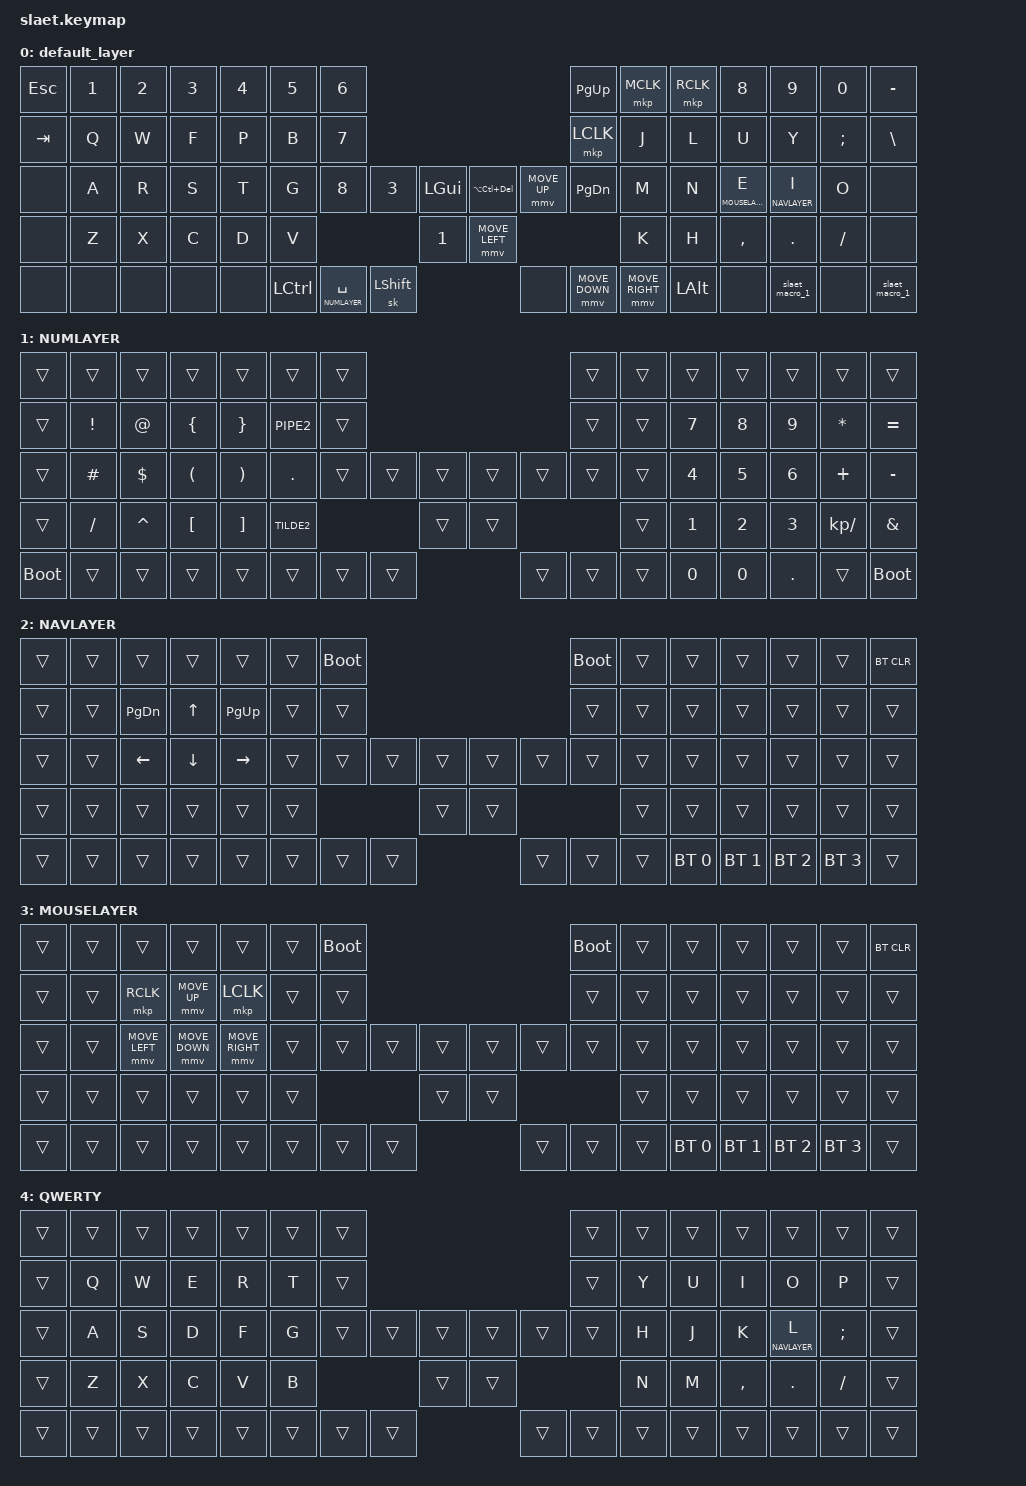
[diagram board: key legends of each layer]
#include <behaviors.dtsi>
#include <dt-bindings/zmk/keys.h>
#include <dt-bindings/zmk/bt.h>
#include <dt-bindings/zmk/ext_power.h>
#include <dt-bindings/zmk/mouse.h>
#include <dt-bindings/zmk/outputs.h>

#define DEFAULT      0
#define NUMLAYER     1
#define NAVLAYER     2
#define MOUSELAYER   3
#define QWERTY       4

/*
                                    .=*@@*=.                                                                                           
                                :=*@#=    =#@*=:                                     
                            .-+#@#+:        :+#@#+-.                                
                        .-+#@%*=.              .=*%@#+-.                           
                   .-=*#@%*=:                      :=*#@%*=-.                     
            .:-=+*#%@%#+=:                              :=+#%@%#*+=-:.            
.:-=+**#%@@@%#*+=:.                                            .:=+*#%@@@%#**+=-:.
@@@%##*+=-::.                                                            .::-=+*##%@@@
@@=                                                                                =@@
@@+                                                                                +@@
%@+                                                                                +@%
#@*                                                                                *@#
+@%                                                                                %@+
-@@                                                                                @@-
:@@.                                                                              .@@:
.@@:                                                                              :@@.
-@@                  @@@@@@   @@@        @@@@@@   @@@@@@@@ @@@@@@@                 @@-
.@@:                @@@@@@@   @@@       @@@@@@@@  @@@@@@@@ @@@@@@@                :@@.                         
.@@:                !@@       @@!       @@!  @@@  @@!        @@!                  :@@. 
 .@@:               !@!       !@!       !@!  @!@  !@!        !@!                 :@@. 
 .@@.               !!@@!!    @!!       @!@!@!@!  @!!!:!     @!!                 .@@.  
 .@@:                !!@!!!   !!!       !!!@!!!!  !!!!!:     !!!                 :@@.
 .@@:                    !:!  !!:       !!:  !!!  !!:        !!:                 :@@.
 .@@.               :::: ::    :: ::::  ::   :::   :: ::::    ::                 .@@.
  -@@               :: : :    : :: : :   :   : :  : :: ::     :                  @@- 
   -@@-                                                                        -@@-         
    :@@+                                                                      +@@:           
      %@#                                                                    #@%            
       %@%.                                                                .%@%             
        *@@=                                                              =@@*               
         =@@#:                                                          :#@@=                   
          .*@@#:                                                      :#@@*.                    
            .*@@#:                                                  :#@@*.                      
              :#@@%-                                             -%@@#:                        
               :*@@%=                                           =%@@*:                          
                  .+@@@*:                                   :*@@@+.                            
                      =%@@%=                             =%@@%=                               
                         :*@@#=.                    .=#@@#*:                                 
                            .=#@@@%-            -%@@@#=.                                   
                                 -#@@@-      -@@@#-         
                                      -+=@@=+-


80 KEY MATRIX / LAYOUT MAPPING
(Unused numbers marked with *)
  ╭────────────────────────────────────────┬───────────────────────────────────────╮
  │  0   1   2   3   4   5   6             |             7   8   9  10  11  12  13 │
  │ 14  15  16  17  18  19  20             │            21  22  23  24  25  26  27 │
  │ 28  29  30  31  32  33  34    35  36   │ 37  38     39  40  41  42  43  44  45 │
  │ 46  47  48  49  50  51            52   │ 53             54  55  56  57  58  59 │
  │ 60  61  62  63  64        65  66  67   │ 68  69  70         71  72  73  74  75 │
  ╰────────────────────────────────────────┻───────────────────────────────────────╯

*/


/ { 
    macros {
        //keybinding is <&slaet_macro_1>
        slaet_macro_1: slaet_macro_1 {
            compatible = "zmk,behavior-macro";
            #binding-cells = <0>;
            bindings
                = <&macro_tap &kp LGUI &kp T &kp E &kp R &kp M &kp I &kp N &kp A &kp L &kp ENTER &kp C &kp D &kp COLON &kp BSLH>
                , <&macro_press &kp LSHFT> 
                , <&macro_tap &kp N>
                , <&macro_release &kp LSHFT>
                , <&macro_tap &kp I &kp P &kp H &kp A &kp N>
                , <&macro_press &kp LSHFT> 
                , <&macro_tap &kp S>
                , <&macro_release &kp LSHFT>
                , <&macro_tap &kp C &kp R &kp I &kp P &kp T &kp S &kp BSLH &kp ENTER>
                ;
            };
        };
    combos {
        compatible = "zmk,combos";
        combo_default {
            timeout-ms = <50>;
            key-positions = <46 60>;
            bindings = <&to DEFAULT>;
        };        
        combo_esc {
            timeout-ms = <50>;
            key-positions = <0 1>;
            bindings = <&kp ESC>;
        };
        combo_ent {
            timeout-ms = <50>;
            key-positions = <55 56>;
            bindings = <&kp RET>;
        };
        combo_bspc {
            timeout-ms = <50>;
            key-positions = <41 42>;
            bindings = <&kp BSPC>;
        };
        combo_tab {
            timeout-ms = <50>;
            key-positions = <17 18>;
            bindings = <&kp TAB>;
        };
        combo_quote {
            timeout-ms = <50>;
            key-positions = <23 24>;
            bindings = <&kp SQT>;
        };
        combo_lclk {
            timeout-ms = <50>;
            key-positions = <31 32>;
            bindings = <&mkp LCLK>;
        };
        combo_rclk {
            timeout-ms = <50>;
            key-positions = <30 31>;
            bindings = <&mkp RCLK>;
        };
        combo_del {
            timeout-ms = <50>;
            key-positions = <49 50>;
            bindings = <&kp DEL>;
        };
        combo_eql {
            timeout-ms = <50>;
            key-positions = <56 57>;
            bindings = <&kp DEL>;
        };
        combo_qwerty {
            timeout-ms = <50>;
            key-positions = <11 12 13>;
            bindings = <&to QWERTY>;
        };    
        combo_btclrall {
            timeout-ms = <50>;
            key-positions = <0 14 28>;
            bindings = <&bt BT_CLR_ALL>;            
        };
        combo_bttog {
            timeout-ms = <50>;
            key-positions = <36 52 67>;
            bindings = <&out OUT_TOG>;            
        };
    };
};

/*
Transparent Layer Template
--------------------------

        TRANSLAYER {

                bindings = <
&trans  &trans  &trans  &trans  &trans  &trans  &trans                                              &trans  &trans  &trans  &trans  &trans  &trans  &trans
&trans  &trans  &trans  &trans  &trans  &trans  &trans                                              &trans  &trans  &trans  &trans  &trans  &trans  &trans
&trans  &trans  &trans  &trans  &trans  &trans  &trans       &trans &trans      &trans  &trans      &trans  &trans  &trans  &trans  &trans  &trans  &trans
&trans  &trans  &trans  &trans  &trans  &trans                      &trans      &trans                      &trans  &trans  &trans  &trans  &trans  &trans
&trans  &trans  &trans  &trans  &trans              &trans  &trans  &trans      &trans  &trans   &trans             &trans  &trans  &trans  &trans  &trans
                >;
        };
*/

/ {
    keymap {
        compatible = "zmk,keymap";
        default_layer {

            bindings = <
&kp ESC  &kp N1     &kp N2  &kp N3  &kp N4  &kp N5  &kp N6                                                                                                    &kp PG_UP   &mkp MCLK    &mkp RCLK    &kp N8              &kp N9           &kp N0          &kp MINUS
&kp TAB  &kp Q      &kp W   &kp F   &kp P   &kp B   &kp N7                                                                                                    &mkp LCLK   &kp J        &kp L        &kp U               &kp Y            &kp SEMI        &kp BSLH
&none    &kp A      &kp R   &kp S   &kp T   &kp G   &kp N8      &kp N3                 &kp LEFT_GUI            &kp LA(LC(DEL))   &mmv MOVE_UP                 &kp PG_DN   &kp M        &kp N        &lt MOUSELAYER E    &lt NAVLAYER I   &kp O           &none
&none    &kp Z      &kp X   &kp C   &kp D   &kp V                                      &kp N1                  &mmv MOVE_LEFT                                             &kp K        &kp H        &kp COMMA           &kp DOT          &kp FSLH        &none
&none    &none      &none   &none   &none           &kp LCTRL   &lt NUMLAYER SPACE     &sk LSHIFT              &none             &mmv MOVE_DOWN  &mmv MOVE_RIGHT                       &kp LALT     &none               &slaet_macro_1   &none           &slaet_macro_1
            >;

        };

        NUMLAYER {

                bindings = <
&trans       &trans      &trans      &trans      &trans      &trans      &trans                                              &trans  &trans  &trans  &trans  &trans      &trans          &trans
&trans       &kp EXCL    &kp AT      &kp LBRC    &kp RBRC    &kp PIPE2   &trans                                              &trans  &trans  &kp N7  &kp N8  &kp N9      &kp ASTRK       &kp EQUAL
&trans       &kp HASH    &kp DLLR    &kp LPAR    &kp RPAR    &kp DOT     &trans      &trans  &trans      &trans &trans       &trans  &trans  &kp N4  &kp N5  &kp N6      &kp PLUS        &kp MINUS
&trans       &kp FSLH    &kp CARET   &kp LBKT    &kp RBKT    &kp TILDE2                      &trans      &trans                      &trans  &kp N1  &kp N2  &kp N3      &kp KP_DIVIDE   &kp AMPS
&bootloader  &trans      &trans      &trans      &trans                  &trans  &trans      &trans      &trans      &trans  &trans          &kp N0  &kp N0  &kp DOT     &trans          &bootloader
                >;
        };

        NAVLAYER {

                bindings = <
&trans  &trans  &trans      &trans      &trans      &trans  &bootloader                                                 &bootloader &trans  &trans          &trans          &trans          &trans          &bt BT_CLR
&trans  &trans  &kp PG_DN   &kp UP      &kp PG_UP   &trans  &trans                                                      &trans      &trans  &trans          &trans          &trans          &trans          &trans
&trans  &trans  &kp LEFT    &kp DOWN    &kp RIGHT   &trans  &trans          &trans  &trans      &trans  &trans          &trans      &trans  &trans          &trans          &trans          &trans          &trans
&trans  &trans  &trans      &trans      &trans      &trans                          &trans      &trans                              &trans  &trans          &trans          &trans          &trans          &trans
&trans  &trans  &trans      &trans      &trans                  &trans  &trans      &trans      &trans      &trans   &trans                 &bt BT_SEL 0    &bt BT_SEL 1    &bt BT_SEL 2    &bt BT_SEL 3    &trans
                >;
        };
MOUSELAYER {

                bindings = <
&trans  &trans  &trans      &trans      &trans      &trans  &bootloader                                                 &bootloader &trans  &trans          &trans          &trans          &trans          &bt BT_CLR
&trans  &trans  &mkp RCLK   &mmv MOVE_UP      &mkp LCLK   &trans  &trans                                                      &trans      &trans  &trans          &trans          &trans          &trans          &trans
&trans  &trans  &mmv MOVE_LEFT    &mmv MOVE_DOWN    &mmv MOVE_RIGHT   &trans  &trans          &trans  &trans      &trans  &trans          &trans      &trans  &trans          &trans          &trans          &trans          &trans
&trans  &trans  &trans      &trans      &trans      &trans                          &trans      &trans                              &trans  &trans          &trans          &trans          &trans          &trans
&trans  &trans  &trans      &trans      &trans                  &trans  &trans      &trans      &trans      &trans   &trans                 &bt BT_SEL 0    &bt BT_SEL 1    &bt BT_SEL 2    &bt BT_SEL 3    &trans
                >;
        };
        
        QWERTY {

                bindings = <
&trans  &trans  &trans  &trans  &trans  &trans  &trans                                                              &trans  &trans  &trans  &trans      &trans          &trans      &trans
&trans  &kp Q   &kp W   &kp E   &kp R   &kp T   &trans                                                              &trans  &kp Y   &kp U   &kp I       &kp O           &kp P       &trans
&trans  &kp A   &kp S   &kp D   &kp F   &kp G   &trans          &trans  &trans          &trans  &trans              &trans  &kp H   &kp J   &kp K       &lt NAVLAYER L  &kp SEMI    &trans
&trans  &kp Z   &kp X   &kp C   &kp V   &kp B                           &trans          &trans                              &kp N   &kp M   &kp COMMA   &kp DOT         &kp FSLH    &trans
&trans  &trans  &trans  &trans  &trans              &trans  &trans      &trans          &trans      &trans  &trans                  &trans  &trans      &trans          &trans      &trans
                >;
        };
    };
};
